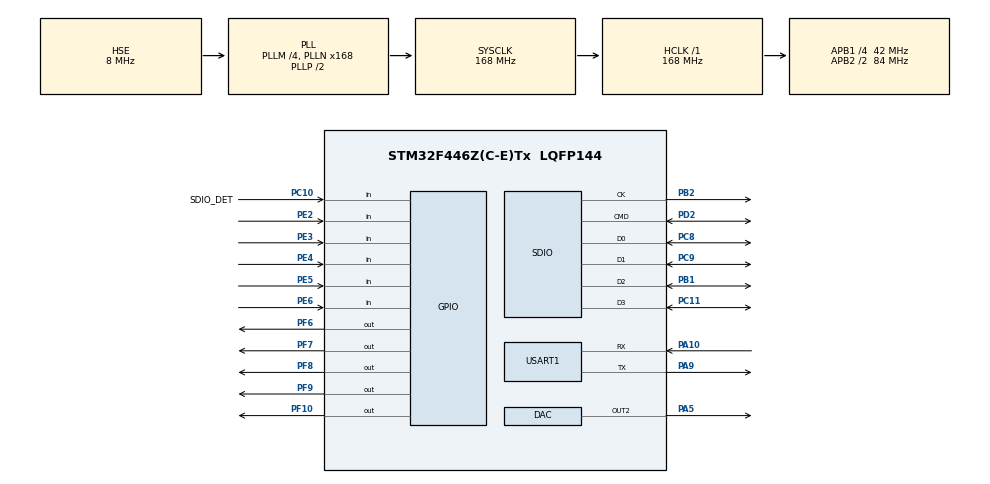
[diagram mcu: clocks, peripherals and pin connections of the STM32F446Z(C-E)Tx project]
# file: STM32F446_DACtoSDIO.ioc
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Dma.Request0=SDIO_RX
Dma.Request1=SDIO_TX
Dma.SDIO_RX.0.Direction=DMA_PERIPH_TO_MEMORY
Dma.SDIO_RX.0.FIFOMode=DMA_FIFOMODE_ENABLE
Dma.SDIO_RX.0.FIFOThreshold=DMA_FIFO_THRESHOLD_FULL
Dma.SDIO_RX.0.Instance=DMA2_Stream3
Dma.SDIO_RX.0.MemBurst=DMA_MBURST_INC4
Dma.SDIO_RX.0.MemDataAlignment=DMA_MDATAALIGN_WORD
Dma.SDIO_RX.0.MemInc=DMA_MINC_ENABLE
Dma.SDIO_RX.0.Mode=DMA_PFCTRL
Dma.SDIO_RX.0.PeriphBurst=DMA_PBURST_INC4
Dma.SDIO_RX.0.PeriphDataAlignment=DMA_PDATAALIGN_WORD
Dma.SDIO_RX.0.PeriphInc=DMA_PINC_DISABLE
Dma.SDIO_RX.0.Priority=DMA_PRIORITY_LOW
Dma.SDIO_TX.1.Direction=DMA_MEMORY_TO_PERIPH
Dma.SDIO_TX.1.FIFOMode=DMA_FIFOMODE_ENABLE
Dma.SDIO_TX.1.FIFOThreshold=DMA_FIFO_THRESHOLD_FULL
Dma.SDIO_TX.1.Instance=DMA2_Stream6
Dma.SDIO_TX.1.MemBurst=DMA_MBURST_INC4
Dma.SDIO_TX.1.MemDataAlignment=DMA_MDATAALIGN_WORD
Dma.SDIO_TX.1.MemInc=DMA_MINC_ENABLE
Dma.SDIO_TX.1.Mode=DMA_PFCTRL
Dma.SDIO_TX.1.PeriphBurst=DMA_PBURST_INC4
Dma.SDIO_TX.1.PeriphDataAlignment=DMA_PDATAALIGN_WORD
Dma.SDIO_TX.1.PeriphInc=DMA_PINC_DISABLE
Dma.SDIO_TX.1.Priority=DMA_PRIORITY_LOW
FATFS.BSP.number=1
FATFS.USE_DMA_CODE_SD=1
FATFS._MAX_SS=4096
FATFS._USE_LFN=3
FATFS0.BSP.STBoard=false
FATFS0.BSP.api=Unknown
FATFS0.BSP.i2caddr=0
FATFS0.BSP.instance=PC10
FATFS0.BSP.ip=GPIO
FATFS0.BSP.mode=Input
FATFS0.BSP.name=Detect_SDIO
FATFS0.BSP.solution=PC10
Mcu.Family=STM32F4
Mcu.Name=STM32F446Z(C-E)Tx
Mcu.Package=LQFP144
NVIC.DMA2_Stream3_IRQn=true\:0\:0\:false\:false\:true\:false
NVIC.DMA2_Stream6_IRQn=true\:0\:0\:false\:false\:true\:false
NVIC.PriorityGroup=NVIC_PRIORITYGROUP_4
NVIC.SDIO_IRQn=true\:0\:0\:false\:false\:true\:true
NVIC.TIM4_IRQn=true\:0\:0\:false\:false\:true\:true
NVIC.USART1_IRQn=true\:0\:0\:false\:false\:true\:true
PA10.Mode=Asynchronous
PA10.Signal=USART1_RX
PA5.Signal=COMP_DAC2_group
PA9.Mode=Asynchronous
PA9.Signal=USART1_TX
PB1.Mode=SD_4_bits_Wide_bus
PB1.Signal=SDIO_D2
PB2.Mode=SD_4_bits_Wide_bus
PB2.Signal=SDIO_CK
PC10.GPIO_Label=SDIO_DET
PC10.Signal=GPIO_Input
PC11.Mode=SD_4_bits_Wide_bus
PC11.Signal=SDIO_D3
PC8.Mode=SD_4_bits_Wide_bus
PC8.Signal=SDIO_D0
PC9.Mode=SD_4_bits_Wide_bus
PC9.Signal=SDIO_D1
PD2.Mode=SD_4_bits_Wide_bus
PD2.Signal=SDIO_CMD
PE2.Signal=GPIO_Input
PE3.Signal=GPIO_Input
PE4.Signal=GPIO_Input
PE5.Signal=GPIO_Input
PE6.Signal=GPIO_Input
PF10.Signal=GPIO_Output
PF6.Signal=GPIO_Output
PF7.Signal=GPIO_Output
PF8.Signal=GPIO_Output
PF9.Signal=GPIO_Output
PH0-OSC_IN.Mode=HSE-External-Oscillator
PH0-OSC_IN.Signal=RCC_OSC_IN
PH1-OSC_OUT.Mode=HSE-External-Oscillator
PH1-OSC_OUT.Signal=RCC_OSC_OUT
ProjectManager.HeapSize=0x2000
ProjectManager.StackSize=0x4000
ProjectManager.TargetToolchain=TrueSTUDIO
RCC.AHBFreq_Value=168000000
RCC.APB1CLKDivider=RCC_HCLK_DIV4
RCC.APB1Freq_Value=42000000
RCC.APB1TimFreq_Value=84000000
RCC.APB2CLKDivider=RCC_HCLK_DIV2
RCC.APB2Freq_Value=84000000
RCC.APB2TimFreq_Value=168000000
RCC.CortexFreq_Value=168000000
RCC.HCLKFreq_Value=168000000
RCC.HSE_VALUE=8000000
RCC.PLLM=4
RCC.PLLN=168
RCC.PLLQ=7
RCC.PLLSourceVirtual=RCC_PLLSOURCE_HSE
RCC.SYSCLKFreq_VALUE=168000000
RCC.SYSCLKSource=RCC_SYSCLKSOURCE_PLLCLK
RCC.USBFreq_Value=48000000
RCC.VCOOutputFreq_Value=336000000
SH.COMP_DAC2_group.0=DAC_OUT2,DAC_OUT2
TIM4.Period=20-1
TIM4.Prescaler=19-1
USART1.VirtualMode=VM_ASYNC
VP_FATFS_VS_SDIO.Mode=SDIO
VP_TIM4_VS_ClockSourceINT.Mode=Internal
board=custom

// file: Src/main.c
/* USER CODE BEGIN Header */
/**
  ******************************************************************************
  * @file           : main.c
  * @brief          : Main program body
  ******************************************************************************
  * This notice applies to any and all portions of this file
  * that are not between comment pairs USER CODE BEGIN and
  * USER CODE END. Other portions of this file, whether
  * inserted by the user or by software development tools
  * are owned by their respective copyright owners.
  *
  * Copyright (c) 2019 STMicroelectronics International N.V.
  * All rights reserved.
  *
  * Redistribution and use in source and binary forms, with or without
  * modification, are permitted, provided that the following conditions are met:
  *
  * 1. Redistribution of source code must retain the above copyright notice,
  *    this list of conditions and the following disclaimer.
  * 2. Redistributions in binary form must reproduce the above copyright notice,
  *    this list of conditions and the following disclaimer in the documentation
  *    and/or other materials provided with the distribution.
  * 3. Neither the name of STMicroelectronics nor the names of other
  *    contributors to this software may be used to endorse or promote products
  *    derived from this software without specific written permission.
  * 4. This software, including modifications and/or derivative works of this
  *    software, must execute solely and exclusively on microcontroller or
  *    microprocessor devices manufactured by or for STMicroelectronics.
  * 5. Redistribution and use of this software other than as permitted under
  *    this license is void and will automatically terminate your rights under
  *    this license.
  *
  * THIS SOFTWARE IS PROVIDED BY STMICROELECTRONICS AND CONTRIBUTORS "AS IS"
  * AND ANY EXPRESS, IMPLIED OR STATUTORY WARRANTIES, INCLUDING, BUT NOT
  * LIMITED TO, THE IMPLIED WARRANTIES OF MERCHANTABILITY, FITNESS FOR A
  * PARTICULAR PURPOSE AND NON-INFRINGEMENT OF THIRD PARTY INTELLECTUAL PROPERTY
  * RIGHTS ARE DISCLAIMED TO THE FULLEST EXTENT PERMITTED BY LAW. IN NO EVENT
  * SHALL STMICROELECTRONICS OR CONTRIBUTORS BE LIABLE FOR ANY DIRECT, INDIRECT,
  * INCIDENTAL, SPECIAL, EXEMPLARY, OR CONSEQUENTIAL DAMAGES (INCLUDING, BUT NOT
  * LIMITED TO, PROCUREMENT OF SUBSTITUTE GOODS OR SERVICES; LOSS OF USE, DATA,
  * OR PROFITS; OR BUSINESS INTERRUPTION) HOWEVER CAUSED AND ON ANY THEORY OF
  * LIABILITY, WHETHER IN CONTRACT, STRICT LIABILITY, OR TORT (INCLUDING
  * NEGLIGENCE OR OTHERWISE) ARISING IN ANY WAY OUT OF THE USE OF THIS SOFTWARE,
  * EVEN IF ADVISED OF THE POSSIBILITY OF SUCH DAMAGE.
  *
  ******************************************************************************
  */
/* USER CODE END Header */

#include "main.h"
#include "fatfs.h"

/* USER CODE BEGIN Includes */
#include <string.h>
#include <stdlib.h>

#include "EMbed_GPIO_General.h"
#include "uart_general.h"
#include "sd_user_code.h"
#include "WaveHader.h"
/* USER CODE END Includes */

DAC_HandleTypeDef hdac;

SD_HandleTypeDef hsd;
DMA_HandleTypeDef hdma_sdio_rx;
DMA_HandleTypeDef hdma_sdio_tx;

TIM_HandleTypeDef htim4;

UART_HandleTypeDef huart1;

/* USER CODE BEGIN PV */
int mainTestArr[100] = {0,};
int IndexDAC = 0;
int TotalindexDAC = 0;
/* USER CODE END PV */

void SystemClock_Config(void);
static void MX_GPIO_Init(void);
static void MX_DMA_Init(void);
static void MX_DAC_Init(void);
static void MX_TIM4_Init(void);
static void MX_USART1_UART_Init(void);
static void MX_SDIO_SD_Init(void);

/* USER CODE BEGIN 0 */
void HAL_TIM_PeriodElapsedCallback(TIM_HandleTypeDef *htim)
{

	if(htim->Instance == TIM4){

		if(WaveData.WavHdrClearFlag == ENABLE_FLAG_BIT){
			if(IndexDAC >= WaveData.WavDataSize){

				if(WaveData.WavLasRepeattDataFlag == ENABLE_FLAG_BIT){
					HAL_DAC_SetValue(&hdac, DAC_CHANNEL_2, DAC_ALIGN_12B_R, 0);
					WaveData.WavHdrClearFlag 		= DISABLE_FLAG_BIT;
					WaveData.WavRepeatDataFlag 		= DISABLE_FLAG_BIT;
					WaveData.WavLasRepeattDataFlag	= DISABLE_FLAG_BIT;
					WaveData.WavClearDataFlag 		= ENABLE_FLAG_BIT;
				}

				WaveHdr.Data.ChunkSize -= IndexDAC;
				if(WaveHdr.Data.ChunkSize < WaveData.WavDataSize){
					WaveData.WavDataSize = WaveHdr.Data.ChunkSize;
					WaveData.WavLasRepeattDataFlag = ENABLE_FLAG_BIT;
				}

				if(WaveData.WavCrossRepeatDataFlag == FILL_BUFF_0){
					WaveData.WavCrossRepeatDataFlag = FILL_BUFF_1;
				}
				else{
					WaveData.WavCrossRepeatDataFlag = FILL_BUFF_0;
				}
				WaveData.WavRepeatDataFlag = ENABLE_FLAG_BIT;
				IndexDAC = 0;
			}
			else{
				if(WaveHdr.Fmt.BlockAlign == WAVE_BYTE_ALIGN_1B){
					if(WaveData.WavCrossRepeatDataFlag == FILL_BUFF_0){

						WaveData.WavData_8Bit[FILL_BUFF_1][IndexDAC] = WaveData.WavData_8Bit[FILL_BUFF_1][IndexDAC] * WaveData.WavVolumValue;
						HAL_DAC_SetValue(&hdac, DAC_CHANNEL_2, DAC_ALIGN_8B_R, WaveData.WavData_8Bit[FILL_BUFF_1][IndexDAC]);
						WaveData.WavData_8Bit[FILL_BUFF_1][IndexDAC] = 0;
					}
					else{
						WaveData.WavData_8Bit[FILL_BUFF_0][IndexDAC] = WaveData.WavData_8Bit[FILL_BUFF_0][IndexDAC] * WaveData.WavVolumValue;
						HAL_DAC_SetValue(&hdac, DAC_CHANNEL_2, DAC_ALIGN_8B_R, WaveData.WavData_8Bit[FILL_BUFF_0][IndexDAC]);
						WaveData.WavData_8Bit[FILL_BUFF_0][IndexDAC] = 0;
					}

					IndexDAC++;
				}
				else if(WaveHdr.Fmt.BlockAlign == WAVE_BYTE_ALIGN_2B){

					if(WaveData.WavCrossRepeatDataFlag == FILL_BUFF_1){
						WaveData.WavData_16Bit[FILL_BUFF_1] = WaveData.WavData_8Bit[FILL_BUFF_1][IndexDAC+1];
						WaveData.WavData_16Bit[FILL_BUFF_1] = (WaveData.WavData_16Bit[FILL_BUFF_1] << 8) + WaveData.WavData_8Bit[FILL_BUFF_1][IndexDAC];

						WaveData.WavData_16Bit[FILL_BUFF_1] = WaveData.WavData_16Bit[FILL_BUFF_1] * Scale_16Bto12B * WaveData.WavVolumValue;
						HAL_DAC_SetValue(&hdac, DAC_CHANNEL_2, DAC_ALIGN_12B_R, WaveData.WavData_16Bit[FILL_BUFF_1]);
						WaveData.WavData_16Bit[FILL_BUFF_1] = 0;
					}
					else{
						WaveData.WavData_16Bit[FILL_BUFF_0] = WaveData.WavData_8Bit[FILL_BUFF_0][IndexDAC+1];
						WaveData.WavData_16Bit[FILL_BUFF_0] = (WaveData.WavData_16Bit[FILL_BUFF_0] << 8) + WaveData.WavData_8Bit[FILL_BUFF_0][IndexDAC];

						WaveData.WavData_16Bit[FILL_BUFF_0] = WaveData.WavData_16Bit[FILL_BUFF_0] * Scale_16Bto12B * WaveData.WavVolumValue;
						HAL_DAC_SetValue(&hdac, DAC_CHANNEL_2, DAC_ALIGN_12B_R, WaveData.WavData_16Bit[FILL_BUFF_0]);
						WaveData.WavData_16Bit[FILL_BUFF_0] = 0;
					}
					IndexDAC += 2;
				}
			}
		}
		else{
			IndexDAC = 0;
		}
	}
}
/* USER CODE END 0 */

int main(void)
{

  /* MCU Configuration--------------------------------------------------------*/

  /* Reset of all peripherals, Initializes the Flash interface and the Systick. */
  HAL_Init();

  /* Configure the system clock */
  SystemClock_Config();

  /* Initialize all configured peripherals */
  MX_GPIO_Init();
  MX_DMA_Init();
  MX_DAC_Init();
  MX_TIM4_Init();
  MX_USART1_UART_Init();
  MX_SDIO_SD_Init();
  MX_FATFS_Init();
  /* USER CODE BEGIN 2 */

  //uart init func
  	GENERAL_UART_IT_Init(&huart1);
  	GENERAL_UART_Variable_Init(&uart1_general);
  	GENERAL_TX_TEST(&huart1);

  //WaveFile HEADER INIT
  	WaveFile_Hdr_Var_Init(&WaveHdr);

  	//Wave Volue Init
  	memset(&WaveData, NULL, sizeof(WAV_DATA_TypeDef));
  	WaveData.WavVolumLevel = VOLUM_LEVEL_1;
  	WaveData.WavVolumValue = VOLUM_LEVEL_VALUE_1;

  	//DAC Stop Func
  	HAL_DAC_Stop(&hdac, DAC_CHANNEL_2);

  	//Disable Timer 4
	HAL_TIM_Base_Stop_IT(&htim4);

	//SD File Mount
  	f_mount(&myFatFS, SDPath, 0);

  /* USER CODE END 2 */

  /* Infinite loop */
  /* USER CODE BEGIN WHILE */
  while (1)
  {
	GPIO_BT_READ(&hButton);

	WaveDataRead();

    /* USER CODE END WHILE */

  }
}

void SystemClock_Config(void)
{
  RCC_OscInitTypeDef RCC_OscInitStruct = {0};
  RCC_ClkInitTypeDef RCC_ClkInitStruct = {0};
  RCC_PeriphCLKInitTypeDef PeriphClkInitStruct = {0};

  /**Configure the main internal regulator output voltage
  */
  __HAL_RCC_PWR_CLK_ENABLE();
  __HAL_PWR_VOLTAGESCALING_CONFIG(PWR_REGULATOR_VOLTAGE_SCALE1);
  /**Initializes the CPU, AHB and APB busses clocks
  */
  RCC_OscInitStruct.OscillatorType = RCC_OSCILLATORTYPE_HSE;
  RCC_OscInitStruct.HSEState = RCC_HSE_ON;
  RCC_OscInitStruct.PLL.PLLState = RCC_PLL_ON;
  RCC_OscInitStruct.PLL.PLLSource = RCC_PLLSOURCE_HSE;
  RCC_OscInitStruct.PLL.PLLM = 4;
  RCC_OscInitStruct.PLL.PLLN = 168;
  RCC_OscInitStruct.PLL.PLLP = RCC_PLLP_DIV2;
  RCC_OscInitStruct.PLL.PLLQ = 7;
  RCC_OscInitStruct.PLL.PLLR = 2;
  if (HAL_RCC_OscConfig(&RCC_OscInitStruct) != HAL_OK)
  {
    Error_Handler();
  }
  /**Initializes the CPU, AHB and APB busses clocks
  */
  RCC_ClkInitStruct.ClockType = RCC_CLOCKTYPE_HCLK|RCC_CLOCKTYPE_SYSCLK
                              |RCC_CLOCKTYPE_PCLK1|RCC_CLOCKTYPE_PCLK2;
  RCC_ClkInitStruct.SYSCLKSource = RCC_SYSCLKSOURCE_PLLCLK;
  RCC_ClkInitStruct.AHBCLKDivider = RCC_SYSCLK_DIV1;
  RCC_ClkInitStruct.APB1CLKDivider = RCC_HCLK_DIV4;
  RCC_ClkInitStruct.APB2CLKDivider = RCC_HCLK_DIV2;

  if (HAL_RCC_ClockConfig(&RCC_ClkInitStruct, FLASH_LATENCY_5) != HAL_OK)
  {
    Error_Handler();
  }
  PeriphClkInitStruct.PeriphClockSelection = RCC_PERIPHCLK_SDIO|RCC_PERIPHCLK_CLK48;
  PeriphClkInitStruct.Clk48ClockSelection = RCC_CLK48CLKSOURCE_PLLQ;
  PeriphClkInitStruct.SdioClockSelection = RCC_SDIOCLKSOURCE_CLK48;
  if (HAL_RCCEx_PeriphCLKConfig(&PeriphClkInitStruct) != HAL_OK)
  {
    Error_Handler();
  }
}

static void MX_DAC_Init(void)
{

  DAC_ChannelConfTypeDef sConfig = {0};

  /**DAC Initialization
  */
  hdac.Instance = DAC;
  if (HAL_DAC_Init(&hdac) != HAL_OK)
  {
    Error_Handler();
  }
  /**DAC channel OUT2 config
  */
  sConfig.DAC_Trigger = DAC_TRIGGER_NONE;
  sConfig.DAC_OutputBuffer = DAC_OUTPUTBUFFER_ENABLE;
  if (HAL_DAC_ConfigChannel(&hdac, &sConfig, DAC_CHANNEL_2) != HAL_OK)
  {
    Error_Handler();
  }

}

static void MX_SDIO_SD_Init(void)
{

  hsd.Instance = SDIO;
  hsd.Init.ClockEdge = SDIO_CLOCK_EDGE_RISING;
  hsd.Init.ClockBypass = SDIO_CLOCK_BYPASS_DISABLE;
  hsd.Init.ClockPowerSave = SDIO_CLOCK_POWER_SAVE_DISABLE;
  hsd.Init.BusWide = SDIO_BUS_WIDE_1B;
  hsd.Init.HardwareFlowControl = SDIO_HARDWARE_FLOW_CONTROL_DISABLE;
  hsd.Init.ClockDiv = 0;

}

static void MX_TIM4_Init(void)
{

  TIM_ClockConfigTypeDef sClockSourceConfig = {0};
  TIM_MasterConfigTypeDef sMasterConfig = {0};

  htim4.Instance = TIM4;
  htim4.Init.Prescaler = 119-1;
  htim4.Init.CounterMode = TIM_COUNTERMODE_UP;
  htim4.Init.Period = 32-1;
  htim4.Init.ClockDivision = TIM_CLOCKDIVISION_DIV1;
  if (HAL_TIM_Base_Init(&htim4) != HAL_OK)
  {
    Error_Handler();
  }
  sClockSourceConfig.ClockSource = TIM_CLOCKSOURCE_INTERNAL;
  if (HAL_TIM_ConfigClockSource(&htim4, &sClockSourceConfig) != HAL_OK)
  {
    Error_Handler();
  }
  sMasterConfig.MasterOutputTrigger = TIM_TRGO_RESET;
  sMasterConfig.MasterSlaveMode = TIM_MASTERSLAVEMODE_DISABLE;
  if (HAL_TIMEx_MasterConfigSynchronization(&htim4, &sMasterConfig) != HAL_OK)
  {
    Error_Handler();
  }

}

static void MX_USART1_UART_Init(void)
{

  huart1.Instance = USART1;
  huart1.Init.BaudRate = 115200;
  huart1.Init.WordLength = UART_WORDLENGTH_8B;
  huart1.Init.StopBits = UART_STOPBITS_1;
  huart1.Init.Parity = UART_PARITY_NONE;
  huart1.Init.Mode = UART_MODE_TX_RX;
  huart1.Init.HwFlowCtl = UART_HWCONTROL_NONE;
  huart1.Init.OverSampling = UART_OVERSAMPLING_16;
  if (HAL_UART_Init(&huart1) != HAL_OK)
  {
    Error_Handler();
  }

}

static void MX_DMA_Init(void)
{
  /* DMA controller clock enable */
  __HAL_RCC_DMA2_CLK_ENABLE();

  /* DMA interrupt init */
  /* DMA2_Stream3_IRQn interrupt configuration */
  HAL_NVIC_SetPriority(DMA2_Stream3_IRQn, 0, 0);
  HAL_NVIC_EnableIRQ(DMA2_Stream3_IRQn);
  /* DMA2_Stream6_IRQn interrupt configuration */
  HAL_NVIC_SetPriority(DMA2_Stream6_IRQn, 0, 0);
  HAL_NVIC_EnableIRQ(DMA2_Stream6_IRQn);

}

static void MX_GPIO_Init(void)
{
  GPIO_InitTypeDef GPIO_InitStruct = {0};

  /* GPIO Ports Clock Enable */
  __HAL_RCC_GPIOE_CLK_ENABLE();
  __HAL_RCC_GPIOF_CLK_ENABLE();
  __HAL_RCC_GPIOH_CLK_ENABLE();
  __HAL_RCC_GPIOA_CLK_ENABLE();
  __HAL_RCC_GPIOB_CLK_ENABLE();
  __HAL_RCC_GPIOC_CLK_ENABLE();
  __HAL_RCC_GPIOD_CLK_ENABLE();

  /*Configure GPIO pin Output Level */
  HAL_GPIO_WritePin(GPIOF, GPIO_PIN_6|GPIO_PIN_7|GPIO_PIN_8|GPIO_PIN_9
                          |GPIO_PIN_10, GPIO_PIN_RESET);

  /*Configure GPIO pins : PE2 PE3 PE4 PE5
                           PE6 */
  GPIO_InitStruct.Pin = GPIO_PIN_2|GPIO_PIN_3|GPIO_PIN_4|GPIO_PIN_5
                          |GPIO_PIN_6;
  GPIO_InitStruct.Mode = GPIO_MODE_INPUT;
  GPIO_InitStruct.Pull = GPIO_NOPULL;
  HAL_GPIO_Init(GPIOE, &GPIO_InitStruct);

  /*Configure GPIO pins : PF6 PF7 PF8 PF9
                           PF10 */
  GPIO_InitStruct.Pin = GPIO_PIN_6|GPIO_PIN_7|GPIO_PIN_8|GPIO_PIN_9
                          |GPIO_PIN_10;
  GPIO_InitStruct.Mode = GPIO_MODE_OUTPUT_PP;
  GPIO_InitStruct.Pull = GPIO_NOPULL;
  GPIO_InitStruct.Speed = GPIO_SPEED_FREQ_LOW;
  HAL_GPIO_Init(GPIOF, &GPIO_InitStruct);

  /*Configure GPIO pin : SDIO_DET_Pin */
  GPIO_InitStruct.Pin = SDIO_DET_Pin;
  GPIO_InitStruct.Mode = GPIO_MODE_INPUT;
  GPIO_InitStruct.Pull = GPIO_NOPULL;
  HAL_GPIO_Init(SDIO_DET_GPIO_Port, &GPIO_InitStruct);

}

void Error_Handler(void)
{
}

/************************ (C) COPYRIGHT STMicroelectronics *****END OF FILE****/
